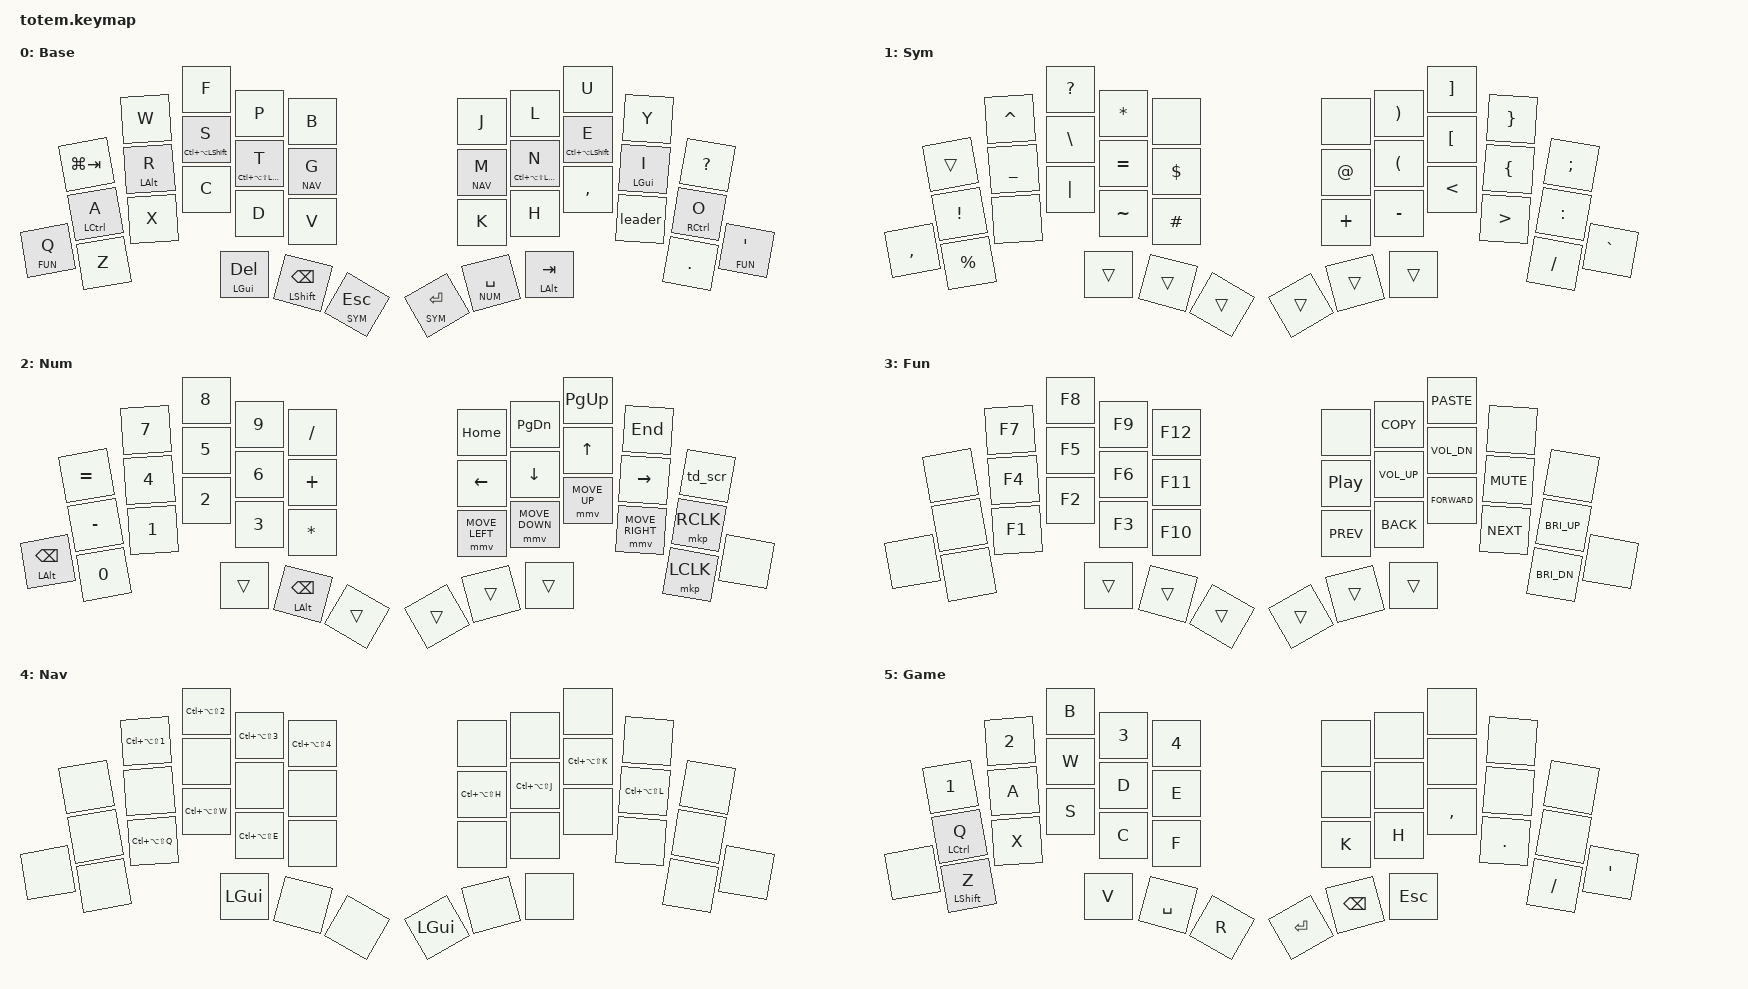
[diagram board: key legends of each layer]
//
//                                                        ▀▀▀▀▀     ▀▀▀▀▀          ▀▀█▀▀
//                                                        ▄▀▀▀▄  ▄  ▄▀▀▀▄  ▄  ▄▀▀▀▄  █  ▄▀▀▀▄
//                                                        █   █  █  █   █  █  █   █  █  █   █
//                                                         ▀▀▀   █   ▀▀▀   █   ▀▀▀   ▀   ▀▀▀
//                                                               █      ▄▄▄█▄▄▄    █   █
//                                                               ▀      █  █  █     █▄█
//                                                             ▀▀▀▀▀    █  █  █      ▀
//                                                                      ▀  ▀  ▀
//
// ▄▄▄▄▄▄▄▄▄▄▄▄▄▄▄▄▄▄▄▄▄▄▄▄▄▄▄▄▄▄▄▄▄▄▄▄▄▄▄▄▄▄▄▄▄▄▄▄▄▄▄▄▄▄▄▄▄▄▄▄▄▄▄▄▄▄▄▄▄▄▄▄▄▄▄▄▄▄▄▄▄▄▄▄▄▄▄▄▄▄▄▄▄▄▄▄▄▄▄▄▄▄▄▄▄▄▄▄▄▄▄▄▄▄▄▄▄▄▄▄▄▄▄▄▄▄▄▄▄▄▄▄▄▄▄▄▄▄▄▄▄▄▄▄▄▄▄▄▄

#include <behaviors.dtsi>
#include <dt-bindings/zmk/keys.h>
#include <dt-bindings/zmk/mouse.h>

// Layer definitions with descriptive names
#define BASE   0
#define SYM    1
#define NUM    2
#define FUN    3
#define NAV    4
#define GAME   5

// Mod combinations
#define MEH LC(LA(LSHIFT))
#define HYPER LC(LA(LS(LGUI)))

/ {
    macros {
        // Screenshot macros (tap=⌘⇧4, hold=⌘⇧3)
        scr_area: scr_area {
            compatible = "zmk,behavior-macro";
            #binding-cells = <0>;
            bindings = <&kp LG(LS(N4))>;
        };

        scr_full: scr_full {
            compatible = "zmk,behavior-macro";
            #binding-cells = <0>;
            bindings = <&kp LG(LS(N3))>;
        };

        // Macros for accented characters
        a_circ: a_circ {
            compatible = "zmk,behavior-macro";
            #binding-cells = <0>;
            bindings = <&macro_press &kp RALT>
                     , <&macro_tap &kp N6>
                     , <&macro_release &kp RALT>
                     , <&macro_tap &kp A>;
        };

        e_circ: e_circ {
            compatible = "zmk,behavior-macro";
            #binding-cells = <0>;
            bindings = <&macro_press &kp RALT>
                     , <&macro_tap &kp N6>
                     , <&macro_release &kp RALT>
                     , <&macro_tap &kp E>;
        };

        i_circ: i_circ {
            compatible = "zmk,behavior-macro";
            #binding-cells = <0>;
            bindings = <&macro_press &kp RALT>
                     , <&macro_tap &kp N6>
                     , <&macro_release &kp RALT>
                     , <&macro_tap &kp I>;
        };

        u_circ: u_circ {
            compatible = "zmk,behavior-macro";
            #binding-cells = <0>;
            bindings = <&macro_press &kp RALT>
                     , <&macro_tap &kp N6>
                     , <&macro_release &kp RALT>
                     , <&macro_tap &kp U>;
        };

        o_circ: o_circ {
            compatible = "zmk,behavior-macro";
            #binding-cells = <0>;
            bindings = <&macro_press &kp RALT>
                     , <&macro_tap &kp N6>
                     , <&macro_release &kp RALT>
                     , <&macro_tap &kp O>;
        };

        i_diae: i_diae {
            compatible = "zmk,behavior-macro";
            #binding-cells = <0>;
            bindings = <&macro_press &kp RALT>
                     , <&macro_tap &kp J>
                     , <&macro_release &kp RALT>;
        };

        n_tilde: n_tilde {
            compatible = "zmk,behavior-macro";
            #binding-cells = <0>;
            bindings = <&macro_press &kp RALT>
                     , <&macro_tap &kp N>
                     , <&macro_release &kp RALT>;
        };

        e_acute: e_acute {
            compatible = "zmk,behavior-macro";
            #binding-cells = <0>;
            bindings = <&macro_press &kp RALT>
                     , <&macro_tap &kp E>
                     , <&macro_release &kp RALT>;
        };

        e_grave: e_grave {
            compatible = "zmk,behavior-macro";
            #binding-cells = <0>;
            bindings = <&macro_press &kp RALT>
                     , <&macro_tap &kp GRAVE>
                     , <&macro_release &kp RALT>
                     , <&macro_tap &kp E>;
        };

        a_grave: a_grave {
            compatible = "zmk,behavior-macro";
            #binding-cells = <0>;
            bindings = <&macro_press &kp RALT>
                     , <&macro_tap &kp GRAVE>
                     , <&macro_release &kp RALT>
                     , <&macro_tap &kp A>;
        };

        u_grave: u_grave {
            compatible = "zmk,behavior-macro";
            #binding-cells = <0>;
            bindings = <&macro_press &kp RALT>
                     , <&macro_tap &kp GRAVE>
                     , <&macro_release &kp RALT>
                     , <&macro_tap &kp U>;
        };

        oe_lig: oe_lig {
            compatible = "zmk,behavior-macro";
            #binding-cells = <0>;
            bindings = <&macro_press &kp RALT>
                     , <&macro_tap &kp X>
                     , <&macro_release &kp RALT>;
        };

        ae_lig: ae_lig {
            compatible = "zmk,behavior-macro";
            #binding-cells = <0>;
            bindings = <&macro_press &kp RALT>
                     , <&macro_tap &kp Z>
                     , <&macro_release &kp RALT>;
        };

        c_cedil: c_cedil {
            compatible = "zmk,behavior-macro";
            #binding-cells = <0>;
            bindings = <&macro_press &kp RALT>
                     , <&macro_tap &kp COMMA>
                     , <&macro_release &kp RALT>;
        };

        nbsp: nbsp {
            compatible = "zmk,behavior-macro";
            #binding-cells = <0>;
            bindings = <&macro_press &kp RALT &kp LSHIFT>
                     , <&macro_tap &kp SPACE>
                     , <&macro_release &kp RALT &kp LSHIFT>;
        };

        digraph_eu: digraph_eu {
            compatible = "zmk,behavior-macro";
            #binding-cells = <0>;
            bindings = <&macro_tap &kp E &kp U>;
        };

        digraph_ue: digraph_ue {
            compatible = "zmk,behavior-macro";
            #binding-cells = <0>;
            bindings = <&macro_tap &kp U &kp E>;
        };
    };

    behaviors {
        // Home row mods with hold-trigger-key-positions (permissive hold for opposite hand)
        // Acts as modifier only when opposite hand key is pressed AND this key is still held
        // Allows fast same-hand typing without accidental mod activation
        hm: homerow_mods {
            compatible = "zmk,behavior-hold-tap";
            #binding-cells = <2>;
            flavor = "balanced";
            tapping-term-ms = <280>;
            quick-tap-ms = <175>;
            require-prior-idle-ms = <150>;
            bindings = <&kp>, <&kp>;
            hold-trigger-key-positions = <
                // Right hand keys (for left hand home row mods)
                5 6 7 8 9
                15 16 17 18 19
                25 26 27 28 29
                35 36 37
                // Left hand keys (for right hand home row mods)
                0 1 2 3 4
                10 11 12 13 14
                20 21 22 23 24
                32 33 34
                // Thumb keys
                30 31 32 33 34 35 36 37
            >;
            hold-trigger-on-release;
        };

        // Layer-tap behavior for thumbs - hold on other key press
        ltq: layer_tap_quick {
            compatible = "zmk,behavior-hold-tap";
            #binding-cells = <2>;
            flavor = "hold-preferred";
            tapping-term-ms = <200>;
            quick-tap-ms = <125>;
            bindings = <&mo>, <&kp>;
            hold-trigger-on-release;
        };

        // Mod-tap for thumbs - hold on other key press
        mtq: mod_tap_quick {
            compatible = "zmk,behavior-hold-tap";
            #binding-cells = <2>;
            flavor = "hold-preferred";
            tapping-term-ms = <200>;
            quick-tap-ms = <125>;
            bindings = <&kp>, <&kp>;
            hold-trigger-on-release;
        };

        // Screenshot tap-dance
        td_scr: tap_dance_screenshot {
            compatible = "zmk,behavior-tap-dance";
            #binding-cells = <0>;
            tapping-term-ms = <200>;
            bindings = <&scr_area>, <&scr_full>;
        };

        // Leader key setup (requires zmk-leader-key module)
        leader: leader {
            compatible = "zmk,behavior-leader-key";
            #binding-cells = <0>;

            // Vowels with circumflex (â ê î ô û)
            lead_a_circ {
                sequence = <A>;
                bindings = <&a_circ>;
            };

            lead_e_circ {
                sequence = <COMMA>;  // E position in Colemak-DH
                bindings = <&e_circ>;
            };

            lead_i_circ {
                sequence = <Y>;
                bindings = <&i_circ>;
            };

            lead_u_circ {
                sequence = <U>;
                bindings = <&u_circ>;
            };

            lead_o_circ {
                sequence = <O>;
                bindings = <&o_circ>;
            };

            // ï (i with diaeresis)
            lead_i_diae {
                sequence = <I>;
                bindings = <&i_diae>;
            };

            // ñ (n with tilde)
            lead_n_tilde {
                sequence = <K>;
                bindings = <&n_tilde>;
            };

            // é (e acute)
            lead_e_acute {
                sequence = <R>;
                bindings = <&e_acute>;
            };

            // è (e grave)
            lead_e_grave {
                sequence = <S>;
                bindings = <&e_grave>;
            };

            // à (a grave) - mapped to F key
            lead_a_grave {
                sequence = <F>;
                bindings = <&a_grave>;
            };

            // ù (u grave)
            lead_u_grave {
                sequence = <P>;
                bindings = <&u_grave>;
            };

            // œ (oe ligature)
            lead_oe_lig {
                sequence = <L>;
                bindings = <&oe_lig>;
            };

            // æ (ae ligature)
            lead_ae_lig {
                sequence = <Z>;
                bindings = <&ae_lig>;
            };

            // ç (c cedilla)
            lead_c_cedil {
                sequence = <C>;
                bindings = <&c_cedil>;
            };

            // Non-breaking space
            lead_nbsp {
                sequence = <SPACE>;
                bindings = <&nbsp>;
            };

            // En dash (–)
            lead_endash {
                sequence = <D>;
                bindings = <&kp MINUS>;
            };

            // Common digraphs
            lead_eu {
                sequence = <N>;
                bindings = <&digraph_eu>;
            };

            lead_ue {
                sequence = <E>;
                bindings = <&digraph_ue>;
            };

            // ( left parenthesis - mapped to T key
            lead_lparen {
                sequence = <T>;
                bindings = <&kp LPAR>;
            };

            // ) right parenthesis
            lead_rparen {
                sequence = <G>;
                bindings = <&kp RPAR>;
            };
        };
    };

    combos {
        compatible = "zmk,combos";

        // X+C -> switch to gaming layer
        combo_xc_to_game {
            timeout-ms = <20>;
            key-positions = <22 23>;
            bindings = <&to GAME>;
            layers = <BASE>;
        };

        // C+D on base -> no-op (prevents accidental activation)
        combo_cd_noop {
            timeout-ms = <20>;
            key-positions = <23 24>;
            bindings = <&none>;
            layers = <BASE>;
        };

        // S+C on gaming layer -> return to base (S is at position 13 in game layer)
        combo_sc_exit_game {
            timeout-ms = <20>;
            key-positions = <13 23>;
            bindings = <&to BASE>;
            layers = <GAME>;
        };
    };

    keymap {
        compatible = "zmk,keymap";

        base_layer {
            label = "Base";
            bindings = <
                          &kp LG(TAB)      &kp W            &kp F            &kp P            &kp B                &kp J            &kp L            &kp U            &kp Y            &kp QMARK
                          &hm LCTRL A      &hm LALT R       &hm MEH S        &hm HYPER T      &lt NAV G            &lt NAV M        &hm HYPER N      &hm MEH E        &hm LGUI I       &hm RCTRL O
            &lt FUN Q     &kp Z            &kp X            &kp C            &kp D            &kp V                &kp K            &kp H            &kp COMMA        &leader          &kp DOT          &lt FUN SQT
                                                            &mtq LGUI DEL    &mtq LSHIFT BSPC &ltq SYM ESC         &ltq SYM RET     &ltq NUM SPACE   &mtq LALT TAB
            >;
        };

        sym_layer {
            label = "Sym";
            bindings = <
                          &trans           &kp CARET        &kp QMARK        &kp ASTRK        &none                &none            &kp RPAR         &kp RBKT         &kp RBRC         &kp SEMI
                          &kp EXCL         &kp UNDER        &kp BSLH         &kp EQUAL        &kp DLLR             &kp AT           &kp LPAR         &kp LBKT         &kp LBRC         &kp COLON
            &kp COMMA     &kp PRCNT        &none            &kp PIPE         &kp TILDE        &kp HASH             &kp PLUS         &kp MINUS        &kp LT           &kp GT           &kp FSLH         &kp GRAVE
                                                            &trans           &trans           &trans               &trans           &trans           &trans
            >;
        };

        num_layer {
            label = "Num";
            bindings = <
                          &kp EQUAL        &kp N7           &kp N8           &kp N9           &kp FSLH             &kp HOME         &kp PG_DN        &kp PG_UP        &kp END          &td_scr
                          &kp MINUS        &kp N4           &kp N5           &kp N6           &kp PLUS             &kp LEFT         &kp DOWN         &kp UP           &kp RIGHT        &mkp RCLK
            &mt LALT BSPC &kp N0           &kp N1           &kp N2           &kp N3           &kp ASTRK            &mmv MOVE_LEFT   &mmv MOVE_DOWN   &mmv MOVE_UP     &mmv MOVE_RIGHT  &mkp LCLK        &none
                                                            &trans           &mt LALT BSPC    &trans               &trans           &trans           &trans
            >;
        };

        fun_layer {
            label = "Fun";
            bindings = <
                          &none            &kp F7           &kp F8           &kp F9           &kp F12              &none            &kp K_COPY       &kp K_PASTE      &none            &none
                          &none            &kp F4           &kp F5           &kp F6           &kp F11              &kp C_PP         &kp C_VOL_UP     &kp C_VOL_DN     &kp C_MUTE       &kp C_BRI_UP
            &none         &none            &kp F1           &kp F2           &kp F3           &kp F10              &kp C_PREV       &kp K_BACK       &kp K_FORWARD    &kp C_NEXT       &kp C_BRI_DN     &none
                                                            &trans           &trans           &trans               &trans           &trans           &trans
            >;
        };

        nav_layer {
            label = "Nav";
            bindings = <
                          &none            &kp LC(LA(LS(N1))) &kp LC(LA(LS(N2))) &kp LC(LA(LS(N3))) &kp LC(LA(LS(N4)))    &none            &none            &none            &none            &none
                          &none            &none            &none            &none            &none                       &kp LC(LA(LS(H))) &kp LC(LA(LS(J))) &kp LC(LA(LS(K))) &kp LC(LA(LS(L))) &none
            &none         &none            &kp LC(LA(LS(Q))) &kp LC(LA(LS(W))) &kp LC(LA(LS(E))) &none                       &none            &none            &none            &none            &none            &none
                                                            &kp LGUI         &none            &none                       &kp LGUI         &none            &none
            >;
        };

        game_layer {
            label = "Game";
            bindings = <
                          &kp N1           &kp N2           &kp B            &kp N3           &kp N4               &none            &none            &none            &none            &none
                          &hm LCTRL Q      &kp A            &kp W            &kp D            &kp E                &none            &none            &none            &none            &none
            &none         &hm LSHIFT Z     &kp X            &kp S            &kp C            &kp F                &kp K            &kp H            &kp COMMA        &kp DOT          &kp FSLH         &kp SQT
                                                            &kp V            &kp SPACE        &kp R                &kp RET          &kp BSPC         &kp ESC
            >;
        };
    };
};
